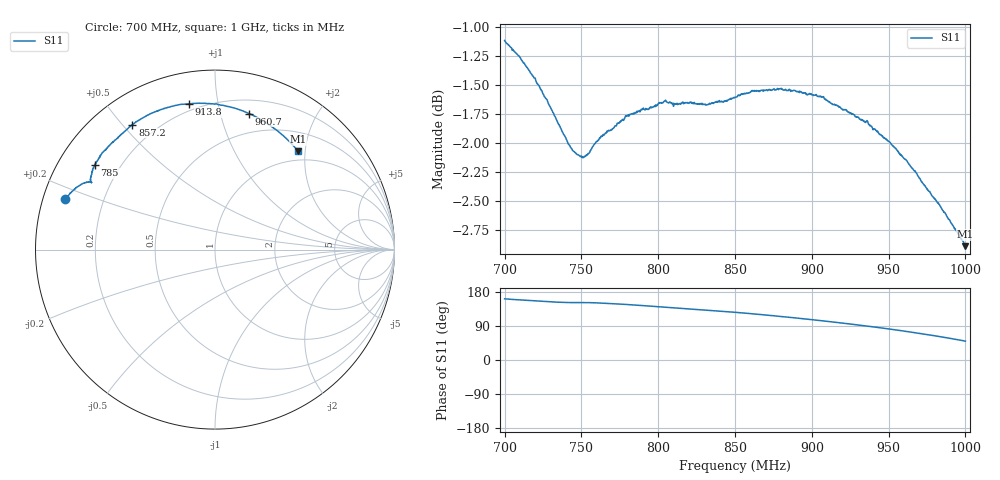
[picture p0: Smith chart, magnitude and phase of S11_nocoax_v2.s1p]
# HZ S RI R 50
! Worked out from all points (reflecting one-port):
!   1024 points, 700 MHz to 1 GHz, reference 50 ohm
!   lowest |S11| = -2.9 dB at 1 GHz (marker M1), VSWR 6.06, Z = 41.3 + j93 ohm
!   phase of S11 starts at 161 deg and turns -112 deg over the sweep
!   S11 on the Smith chart (normalised r, x): 700 MHz: 0.07, +0.16; 785 MHz: 0.11, +0.31; 857.2 MHz: 0.12, +0.53; 913.8 MHz: 0.16, +0.82; 960.7 MHz: 0.32, +1.23; 1 GHz: 0.83, +1.86
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7e8  -0.8333 0.2807
7.093842e8  -0.8072 0.3136
7.205278e8  -0.7692 0.3482
7.304985e8  -0.7332 0.3696
7.375366e8  -0.7098 0.3756
7.454545e8  -0.6918 0.3758
7.548387e8  -0.6899 0.3767
7.60997e8  -0.6932 0.3925
7.750733e8  -0.6835 0.4359
7.85044e8  -0.6687 0.4724
8.01173e8  -0.6368 0.5269
8.126099e8  -0.6024 0.5638
8.501466e8  -0.4873 0.6733
8.571847e8  -0.4597 0.6962
8.739002e8  -0.3825 0.7444
8.876832e8  -0.3097 0.7771
9.064515e8  -0.1943 0.8082
9.137829e8  -0.1463 0.8119
9.252198e8  -0.0699 0.8152
9.351905e8  0.00112 0.8105
9.419354e8  0.0502 0.8025
9.510263e8  0.1183 0.7856
9.607037e8  0.1906 0.7578
9.627565e8  0.206 0.7508
9.692081e8  0.2547 0.7252
9.815248e8  0.3411 0.6667
9.929617e8  0.4192 0.5974
9.999999e8  0.4626 0.5476
